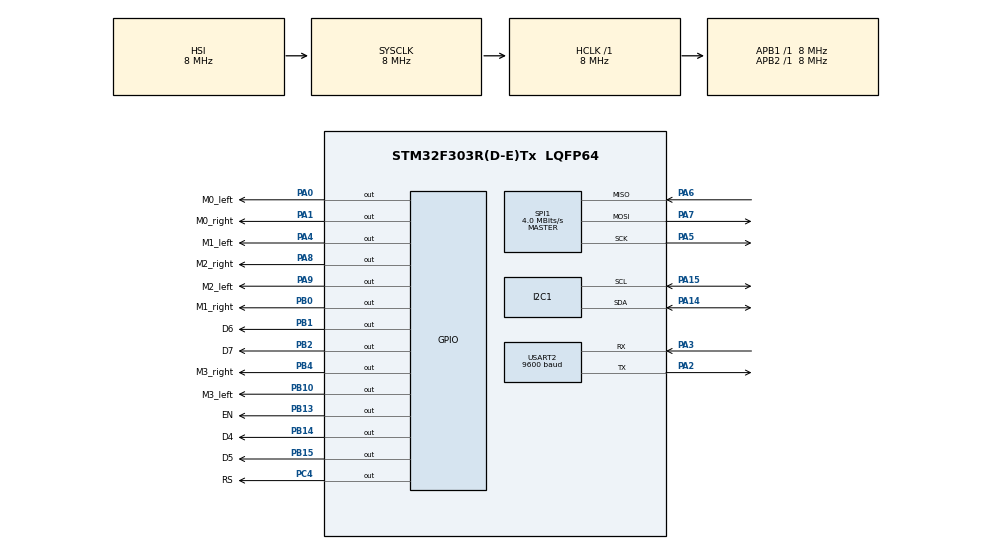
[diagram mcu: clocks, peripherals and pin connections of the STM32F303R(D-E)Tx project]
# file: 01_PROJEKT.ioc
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Mcu.Family=STM32F3
PA6.Mode=Full_Duplex_Master
RCC.CortexFreq_Value=8000000
SPI1.VirtualType=VM_MASTER
PB14.GPIO_Label=D4
PA0.GPIO_Label=M0_left
PB0.GPIO_Label=M1_right
PB13.GPIO_Label=EN
PB13.Signal=GPIO_Output
PB15.Signal=GPIO_Output
ProjectManager.StackSize=0x400
SPI1.Direction=SPI_DIRECTION_2LINES
RCC.HCLKFreq_Value=8000000
RCC.APB2TimFreq_Value=8000000
SPI1.CalculateBaudRate=4.0 MBits/s
RCC.AHBFreq_Value=8000000
RCC.HSE_VALUE=8000000
PB2.Signal=GPIO_Output
USART2.VirtualMode-Asynchronous=VM_ASYNC
PA15.Mode=I2C
PC4.GPIO_Label=RS
PA14.Mode=I2C
PB1.GPIO_Label=D6
PA8.Signal=GPIO_Output
PA0.Signal=GPIO_Output
Mcu.Package=LQFP64
PB1.Signal=GPIO_Output
PA6.Signal=SPI1_MISO
PA15.Signal=I2C1_SCL
RCC.APB1TimFreq_Value=8000000
TIM16.Prescaler=7999
PF1-OSC_OUT.Mode=HSE-External-Oscillator
PA4.GPIO_Label=M1_left
PF1-OSC_OUT.Signal=RCC_OSC_OUT
PB4.Signal=GPIO_Output
PA3.Signal=USART2_RX
PA5.Mode=Full_Duplex_Master
RCC.PLLSourceVirtual=RCC_PLLSOURCE_HSE
PA7.Mode=Full_Duplex_Master
PA9.GPIO_Label=M2_left
PC4.Signal=GPIO_Output
VP_TIM16_VS_ClockSourceINT.Mode=Enable_Timer
NVIC.USART2_IRQn=true\:0\:0\:false\:false\:true\:true\:true
USART2.BaudRate=9600
PA3.Mode=Asynchronous
PA8.GPIO_Label=M2_right
ProjectManager.TargetToolchain=STM32CubeIDE
PB10.GPIO_Label=M3_left
PA9.Signal=GPIO_Output
RCC.USBFreq_Value=16000000
RCC.LSE_VALUE=32768
PA1.Signal=GPIO_Output
PF0-OSC_IN.Mode=HSE-External-Oscillator
PB10.Signal=GPIO_Output
PB14.Signal=GPIO_Output
PA5.Signal=SPI1_SCK
board=custom
TIM16.Period=79
RCC.APB2Freq_Value=8000000
PB4.GPIO_Label=M3_right
PB15.GPIO_Label=D5
SPI1.Mode=SPI_MODE_MASTER
PA1.GPIO_Label=M0_right
Mcu.Name=STM32F303R(D-E)Tx
PA2.Signal=USART2_TX
PA4.Signal=GPIO_Output
RCC.SYSCLKFreq_VALUE=8000000
PA14.Signal=I2C1_SDA
PB2.GPIO_Label=D7
ProjectManager.HeapSize=0x200
RCC.HSI_VALUE=8000000
NVIC.TIM1_UP_TIM16_IRQn=true\:2\:0\:true\:false\:true\:true\:true
NVIC.PriorityGroup=NVIC_PRIORITYGROUP_4
PA2.Mode=Asynchronous
PF0-OSC_IN.Signal=RCC_OSC_IN
RCC.APB1Freq_Value=8000000
PB0.Signal=GPIO_Output
PA7.Signal=SPI1_MOSI

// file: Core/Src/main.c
/* USER CODE BEGIN Header */
/**
  ******************************************************************************
  * @file           : main.c
  * @brief          : Main program body
  ******************************************************************************
  * @attention
  *
  * <h2><center>&copy; Copyright (c) 2021 STMicroelectronics.
  * All rights reserved.</center></h2>
  *
  * This software component is licensed by ST under BSD 3-Clause license,
  * the "License"; You may not use this file except in compliance with the
  * License. You may obtain a copy of the License at:
  *                        opensource.org/licenses/BSD-3-Clause
  *
  ******************************************************************************
  */
/* USER CODE END Header */
#include "main.h"
#include "i2c.h"
#include "spi.h"
#include "tim.h"
#include "usart.h"
#include "gpio.h"

/* USER CODE BEGIN Includes */
#include "motor.h"
#include "lcd.h"
/* USER CODE END Includes */

/* USER CODE BEGIN PV */
volatile uint8_t speed = 100;
volatile char data;
/* USER CODE END PV */

void SystemClock_Config(void);

int main(void)
{

  /* MCU Configuration--------------------------------------------------------*/

  /* Reset of all peripherals, Initializes the Flash interface and the Systick. */
  HAL_Init();

  /* Configure the system clock */
  SystemClock_Config();

  /* Initialize all configured peripherals */
  MX_GPIO_Init();
  MX_USART2_UART_Init();
  MX_I2C1_Init();
  MX_SPI1_Init();
  MX_TIM16_Init();
  /* USER CODE BEGIN 2 */
  Lcd_HandleTypeDef lcd;
	lcd.en_port = EN_GPIO_Port;
	lcd.en_pin = EN_Pin;
	lcd.rs_port = RS_GPIO_Port;
	lcd.rs_pin = RS_Pin;
	lcd.mode = LCD_4_BIT_MODE;
	Lcd_PortType lcdPorts[] = {D4_GPIO_Port, D5_GPIO_Port, D6_GPIO_Port, D7_GPIO_Port};
	lcd.data_port = lcdPorts;
	Lcd_PinType lcdPins[] = {D4_Pin, D5_Pin, D6_Pin, D7_Pin};
	lcd.data_pin = lcdPins;
	Lcd_init(&lcd);
	Lcd_clear(&lcd);
	Lcd_string(&lcd, "abc");

	//HAL_TIM_Base_Start_IT(&htim16);		//włączenie timera16
	//__HAL_TIM_CLEAR_FLAG(&htim16, TIM_FLAG_UPDATE);	//zerowanie zawartości licznika timera
	//data[2] = NULL;			//ramka danych 3-bajtowa, 1 bajt kierunek, 2 bajt prędkość, 3 bajt NULL
	//HAL_UART_Receive_IT(&huart2, data, 1);
  /* USER CODE END 2 */

  /* Infinite loop */
  /* USER CODE BEGIN WHILE */
  while (1)
  {
	  /*if(__HAL_UART_GET_FLAG(&huart2, UART_FLAG_RXNE)!=RESET)	//jeśli wystąpią dane w buforze Rx
	  {
		  HAL_UART_Receive(&huart2, &data, 1, 50);	//zapisz odebrane dane w buforze data[]
		  Lcd_clear(&lcd);
		  Lcd_string(&lcd, data);
		  przydzielKierunek(data);	//kierunek w postaci znaku char
		  //speed = 50 + data[1] * 2;     //ustalenie wypełnienia syg PWM z zakresu 0-100
	  }*/

	  ruchPojazdu(przod);
	  HAL_Delay(1000);
	  ruchPojazdu(stop);
	  HAL_Delay(1000);

	  //uint8_t value;
	  //HAL_UART_Receive(&huart2, &value, 1, HAL_MAX_DELAY);
	  //Lcd_clear(&lcd);
	  //Lcd_string(&lcd, value);
    /* USER CODE END WHILE */

  }
}

void SystemClock_Config(void)
{
  RCC_OscInitTypeDef RCC_OscInitStruct = {0};
  RCC_ClkInitTypeDef RCC_ClkInitStruct = {0};
  RCC_PeriphCLKInitTypeDef PeriphClkInit = {0};

  /** Initializes the RCC Oscillators according to the specified parameters
  * in the RCC_OscInitTypeDef structure.
  */
  RCC_OscInitStruct.OscillatorType = RCC_OSCILLATORTYPE_HSI;
  RCC_OscInitStruct.HSIState = RCC_HSI_ON;
  RCC_OscInitStruct.HSICalibrationValue = RCC_HSICALIBRATION_DEFAULT;
  RCC_OscInitStruct.PLL.PLLState = RCC_PLL_NONE;
  if (HAL_RCC_OscConfig(&RCC_OscInitStruct) != HAL_OK)
  {
    Error_Handler();
  }
  /** Initializes the CPU, AHB and APB buses clocks
  */
  RCC_ClkInitStruct.ClockType = RCC_CLOCKTYPE_HCLK|RCC_CLOCKTYPE_SYSCLK
                              |RCC_CLOCKTYPE_PCLK1|RCC_CLOCKTYPE_PCLK2;
  RCC_ClkInitStruct.SYSCLKSource = RCC_SYSCLKSOURCE_HSI;
  RCC_ClkInitStruct.AHBCLKDivider = RCC_SYSCLK_DIV1;
  RCC_ClkInitStruct.APB1CLKDivider = RCC_HCLK_DIV1;
  RCC_ClkInitStruct.APB2CLKDivider = RCC_HCLK_DIV1;

  if (HAL_RCC_ClockConfig(&RCC_ClkInitStruct, FLASH_LATENCY_0) != HAL_OK)
  {
    Error_Handler();
  }
  PeriphClkInit.PeriphClockSelection = RCC_PERIPHCLK_USART2|RCC_PERIPHCLK_I2C1
                              |RCC_PERIPHCLK_TIM16;
  PeriphClkInit.Usart2ClockSelection = RCC_USART2CLKSOURCE_PCLK1;
  PeriphClkInit.I2c1ClockSelection = RCC_I2C1CLKSOURCE_HSI;
  PeriphClkInit.Tim16ClockSelection = RCC_TIM16CLK_HCLK;
  if (HAL_RCCEx_PeriphCLKConfig(&PeriphClkInit) != HAL_OK)
  {
    Error_Handler();
  }
}

/* USER CODE BEGIN 4 */
// przerwanie timera16 OC
void HAL_TIM_PeriodElapsedCallback(TIM_HandleTypeDef *htim)
//void HAL_TIM_OC_DelayElapsedCallback(TIM_HandleTypeDef *htim)
{
	static uint16_t cnt = 0;
	cnt++;
	if(cnt == 100) cnt = 0;

	//if(cnt < speed) przydzielKierunek(data[0]);		//realizacja PWM na timerze16
	//else ruchPojazdu(stop);
}

void HAL_UART_RxCpltCallback(UART_HandleTypeDef *huart) {

	uint8_t Data[40]; // Tablica przechowujaca wysylana wiadomosc.
	//Lcd_clear(&lcd);
	//Lcd_string(&lcd, data);
	HAL_UART_Receive_IT(&huart2, data, 10); // Ponowne włączenie nasłuchiwania
}
/* USER CODE END 4 */

void Error_Handler(void)
{
  __disable_irq();
  while (1)
  {
  }
}

/************************ (C) COPYRIGHT STMicroelectronics *****END OF FILE****/
